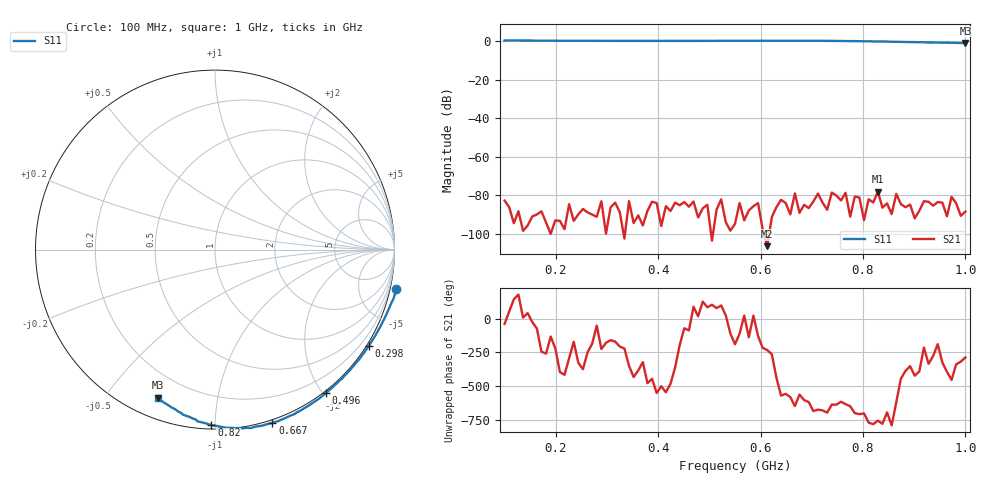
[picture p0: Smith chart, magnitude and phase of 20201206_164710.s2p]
# HZ S RI R 50
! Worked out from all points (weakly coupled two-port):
!   101 points, 100 MHz to 1 GHz, reference 50 ohm
!   highest |S21| = -78.12 dB at 829 MHz (marker M1); lowest = -106.4 dB at 613 MHz (marker M2)
!   lowest |S11| = -1.1 dB at 1 GHz (marker M3), VSWR 16.33, Z = 4.49 - j34.1 ohm
!   |S11| at or under -10 dB: nowhere
!   S12 and S22 are empty: the file has one direction only
!   S11 on the Smith chart (normalised r, x): 100 MHz: -1.30, -9.11; 298 MHz: -0.07, -3.49; 496 MHz: -0.03, -2.04; 667 MHz: -0.02, -1.38; 820 MHz: 0.02, -0.98; 1 GHz: 0.09, -0.68
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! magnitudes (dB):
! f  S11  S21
! 100 MHz  0.3  -82.8
! 253 MHz  0.1  -87.1
! 298 MHz  0.1  -99.9
! 406 MHz  0.1  -95.9
! 496 MHz  0.1  -85.0
! 550 MHz  0.1  -94.8
! 613 MHz  0.1  -106.4
! 658 MHz  0.1  -90.0
! 667 MHz  0.1  -79.1
! 703 MHz  0.1  -83.3
! 712 MHz  0.1  -79.2
! 730 MHz  0.1  -87.5
! 739 MHz  0.1  -78.6
! 748 MHz  0.0  -80.2
! 766 MHz  0.0  -78.7
! 775 MHz  0.0  -91.1
! 820 MHz  -0.2  -83.7
! 829 MHz  -0.2  -78.1
! 838 MHz  -0.3  -86.5
! 856 MHz  -0.3  -89.7
! 865 MHz  -0.4  -79.3
! 1 GHz  -1.1  -88.5
